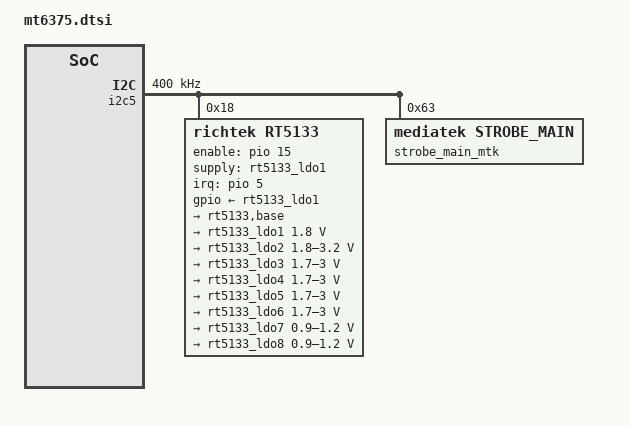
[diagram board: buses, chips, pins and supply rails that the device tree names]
/* MT6375 */

&i2c5 {
	#address-cells = <1>;
	#size-cells = <0>;
	clock-frequency = <400000>;
	mediatek,use-open-drain;

	mt6375: mt6375@34 {
		compatible = "mediatek,mt6375";
		reg = <0x34>;
		status = "disabled";
		interrupt-parent = <&pio>;
		interrupts = <0x04 0x08>;
		interrupt-controller;
		#interrupt-cells = <0x01>;
		wakeup-source;

		mt6375_adc: adc {
			compatible = "mediatek,mt6375-adc";
			#io-channel-cells = <0x01>;
			interrupts = <0x2c>;
			interrupt-names = "adc_donei";
		};

		mt6375_chg: chg {
			compatible = "mediatek,mt6375-chg";
			interrupts = <0x00 0x01 0x08 0x0b 0x17 0x1f 0x12 0x13 0x1b 0x2b>;
			interrupt-names = "fl_pwr_rdy", "fl_detach", "fl_vbus_ov", "fl_chg_tout", "fl_wdt", "fl_bc12_dn", "fl_aicc_done", "fl_pe_done", "fl_batpro_done", "adc_vbat_mon_ov";

			io-channels = <&mt6375_adc 0x01>, <&mt6375_adc 0x03>,
			<&mt6375_adc 0x04>, <&mt6375_adc 0x05>,
			<&mt6375_adc 0x06>, <&mt6375_adc 0x08>,
			<&mt6375_adc 0x02>, <&mt6375_adc 0x07>;

			chg_name = "primary_chg";
			aicr = <0x1f4>;
			mivr = <0x1130>;
			cv = <0x1068>;
			ichg = <0x7d0>;
			ieoc = <0x96>;
			wdt = <0x9c40>;
			te_en;
			vbus_ov = <0x38a4>;
			vrec = <0x64>;
			otg_lbp = <0xaf0>;
			ircmp_r = <0x413c>;
			ircmp_v = <0x20>;
			chg_tmr = <0x0a>;
			chg_tmr_en;
			dcdt_sel = <0x258>;
			bc12_sel = <&mtk_ctd>;
			boot_mode = <&chosen>;
			phys = <&u2port0 0x03>;
			phy-names = "usb2-phy";
			usb = <&usb>;

			mt6375_otg_vbus: otg {
				regulator-compatible = "mt6375,otg-vbus";
				regulator-name = "usb-otg-vbus";
				regulator-min-microvolt = <0x4a0150>;
				regulator-max-microvolt = <0x53ec60>;
				regulator-min-microamp = <0x7a120>;
				regulator-max-microamp = <0x249f00>;
			};
		};

		mt6375_typec: tcpc {
			compatible = "mediatek,mt6375-tcpc";
			interrupts = <0x78>;
			interrupt-names = "pd_evt";
			tcpc,name = "type_c_port0";
			tcpc,role_def = <0x05>;
			tcpc,rp_level = <0x00>;
			tcpc,vconn_supply = <0x01>;
			tcpc,notifier_supply_num = <0x03>;
			io-channels = <&mt6375_adc 0x0e>, <&mt6375_adc 0x0f>;
			charger = <&mt6375_chg>;
			boot_mode = <&chosen>;
			tcpc,en_wd;
			tcpc,en_wd_sbu_polling;
			tcpc,en_wd_polling_only;
			tcpc,en_ctd;
			tcpc,en_fod;
			tcpc,en_typec_otp;
			wd,sbu_calib_init = <0x4b0>;
			wd,sbu_pl_bound = <0xc8>;
			wd,sbu_pl_lbound_c2c = <0x44c>;
			wd,sbu_pl_ubound_c2c = <0xa28>;
			wd,sbu_ph_auddev = <0x64>;
			wd,sbu_ph_lbound = <0x378>;
			wd,sbu_ph_lbound1_c2c = <0xb22>;
			wd,sbu_ph_ubound1_c2c = <0xc4e>;
			wd,sbu_ph_ubound2_c2c = <0xed8>;
			wd,sbu_aud_ubound = <0x640>;

			pd-data {
				pd,vid = <0x29cf>;
				pd,pid = <0x6375>;
				pd,source-cap-ext = <0x637529cf 0x00 0x00 0x00 0x00 0x7010000>;
				pd,mfrs = "RichtekTCPC";
				pd,charging_policy = <0x21>;
				pd,source-pdo-size = <0x01>;
				pd,source-pdo-data = <0x19032>;
				pd,sink-pdo-size = <0x02>;
				pd,sink-pdo-data = <0x190c8 0x190c8>;
				pd,id-vdo-size = <0x04>;
				pd,id-vdo-data = <0xec0029cf 0x00 0x10000 0x11000001>;
				bat,nr = <0x01>;
				pd,country_nr = <0x00>;

				bat-info0 {
					bat,vid = <0x29cf>;
					bat,pid = <0x6375>;
					bat,mfrs = "bat1";
					bat,design_cap = <0xbb8>;
				};
			};

			dpm_caps {
				local_dr_power;
				local_dr_data;
				local_usb_comm;
				local_no_suspend;
				local_vconn_supply;
				attempt_enter_dp_mode;
				attempt_discover_cable;
				attempt_discover_id;
				pr_check = <0x00>;
				dr_check = <0x00>;
			};

			displayport {
				1st_connection = "dfp_d";
				2nd_connection = "dfp_d";
				signal,dp_v13;
				usbr20_not_used;
				typec,receptacle;

				ufp_d {
				};

				dfp_d {
					pin_assignment,mode_c;
					pin_assignment,mode_d;
					pin_assignment,mode_e;
					pin_assignment,mode_f;
				};
			};
		};

		dbg {
			compatible = "mediatek,mt6375-dbg";
		};
	};

	rt5133: rt5133@18 {
		status = "ok";
		compatible = "richtek,rt5133";
		reg = <0x18>;
		wakeup-source;
		interrupts-extended = <&pio 5 0>;
		enable-gpio = <&pio 15 0>;
		gpio-supply = <&rt5133_ldo1>;
		gpio-controller;
		#gpio-cells = <2>;
		regulator_nb = "rt5133-ldo1", "rt5133-ldo2", "rt5133-ldo3", "rt5133-ldo4",
		"rt5133-ldo5", "rt5133-ldo6", "rt5133-ldo7", "rt5133-ldo8";

		regulators {
			BASE {
				regulator-name = "rt5133,base";
				oc_shutdown_all = <0>;
				pgb_shutdown_all = <0>;
			};

			rt5133_ldo1: LDO1 {
				regulator-name = "rt5133-ldo1";
				regulator-min-microvolt = <1800000>;
				regulator-max-microvolt = <1800000>;
				regulator-active-discharge;
				oc_ptsel = <1>;
				pgb_ptsel = <1>;
				soft_start_time_sel = <1>;
			};

			rt5133_ldo2: LDO2 {
				regulator-name = "rt5133-ldo2";
				regulator-min-microvolt = <1800000>;
				regulator-max-microvolt = <3200000>;
				regulator-active-discharge;
				oc_ptsel = <1>;
				pgb_ptsel = <1>;
				soft_start_time_sel = <1>;
			};

			rt5133_ldo3: LDO3 {
				regulator-name = "rt5133-ldo3";
				regulator-min-microvolt = <1700000>;
				regulator-max-microvolt = <3000000>;
				regulator-active-discharge;
				oc_ptsel = <1>;
				pgb_ptsel = <1>;
				soft_start_time_sel = <1>;
			};

			rt5133_ldo4: LDO4 {
				regulator-name = "rt5133-ldo4";
				regulator-min-microvolt = <1700000>;
				regulator-max-microvolt = <3000000>;
				regulator-active-discharge;
				oc_ptsel = <1>;
				pgb_ptsel = <1>;
				soft_start_time_sel = <1>;
			};

			rt5133_ldo5: LDO5 {
				regulator-name = "rt5133-ldo5";
				regulator-min-microvolt = <1700000>;
				regulator-max-microvolt = <3000000>;
				regulator-active-discharge;
				oc_ptsel = <1>;
				pgb_ptsel = <1>;
				soft_start_time_sel = <1>;
			};

			rt5133_ldo6: LDO6 {
				regulator-name = "rt5133-ldo6";
				regulator-min-microvolt = <1700000>;
				regulator-max-microvolt = <3000000>;
				regulator-active-discharge;
				oc_ptsel = <1>;
				pgb_ptsel = <1>;
				soft_start_time_sel = <1>;
			};

			rt5133_ldo7: LDO7 {
				regulator-name = "rt5133-ldo7";
				regulator-min-microvolt = <900000>;
				regulator-max-microvolt = <1200000>;
				regulator-active-discharge;
				oc_ptsel = <1>;
				pgb_ptsel = <1>;
				soft_start_time_sel = <1>;
			};

			rt5133_ldo8: LDO8 {
				regulator-name = "rt5133-ldo8";
				regulator-min-microvolt = <900000>;
				regulator-max-microvolt = <1200000>;
				regulator-active-discharge;
				oc_ptsel = <1>;
				pgb_ptsel = <1>;
				soft_start_time_sel = <1>;
			};
		};
	};

	strobe_main_mtk: strobe_main@63 {
		compatible = "mediatek,strobe_main";
		reg = <0x63>;
		status = "okay";
	};
};
